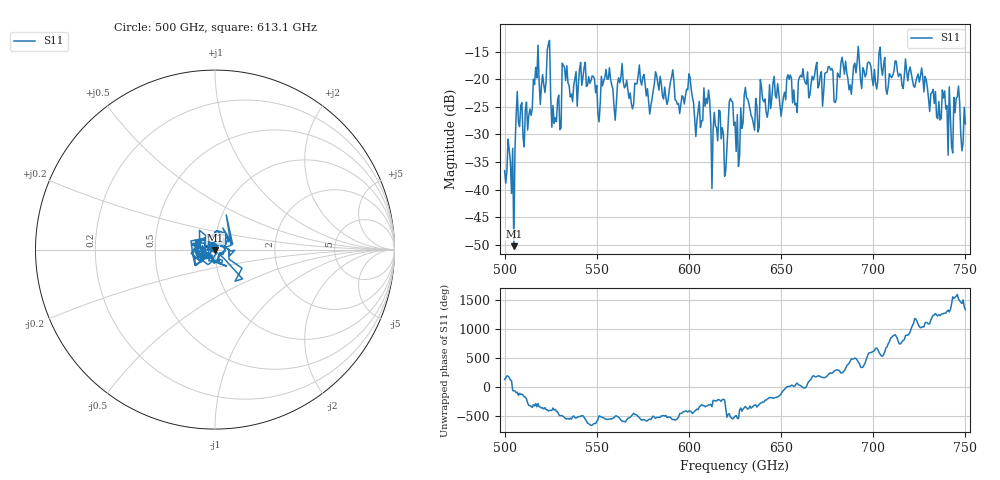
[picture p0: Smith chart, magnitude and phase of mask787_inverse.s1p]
!Created with skrf (http://scikit-rf.org).
# GHz S MA R 50.0
!freq magS11 angS11
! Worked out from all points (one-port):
!   401 points, 500 GHz to 750 GHz, reference 50 ohm
!   lowest |S11| = -50.3 dB at 505 GHz (marker M1), VSWR 1.01, Z = 50.1 - j0.29 ohm
!   |S11| at or under -10 dB: start of sweep to end of sweep
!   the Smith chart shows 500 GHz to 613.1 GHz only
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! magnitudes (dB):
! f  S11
! 500 GHz  -36.6
! 505 GHz  -50.3
! 507.5 GHz  -27.8
! 513.8 GHz  -25.4
! 516.9 GHz  -17.9
! 520.6 GHz  -19.2
! 523.8 GHz  -13.6
! 526.9 GHz  -28.0
! 531.2 GHz  -17.1
! 542.5 GHz  -19.7
! 550.6 GHz  -26.2
! 555.6 GHz  -20.0
! 559.4 GHz  -25.0
! 562.5 GHz  -20.7
! 568.8 GHz  -24.4
! 590.6 GHz  -19.5
! 593.8 GHz  -24.6
! 609.4 GHz  -23.5
! 619.4 GHz  -37.6
! 622.5 GHz  -23.5
! 625 GHz  -27.8
! 656.2 GHz  -24.3
! 680 GHz  -23.6
! 683.8 GHz  -17.5
! 687.5 GHz  -21.0
! 691.2 GHz  -17.0
! 718.8 GHz  -20.3
! 750 GHz  -28.1
